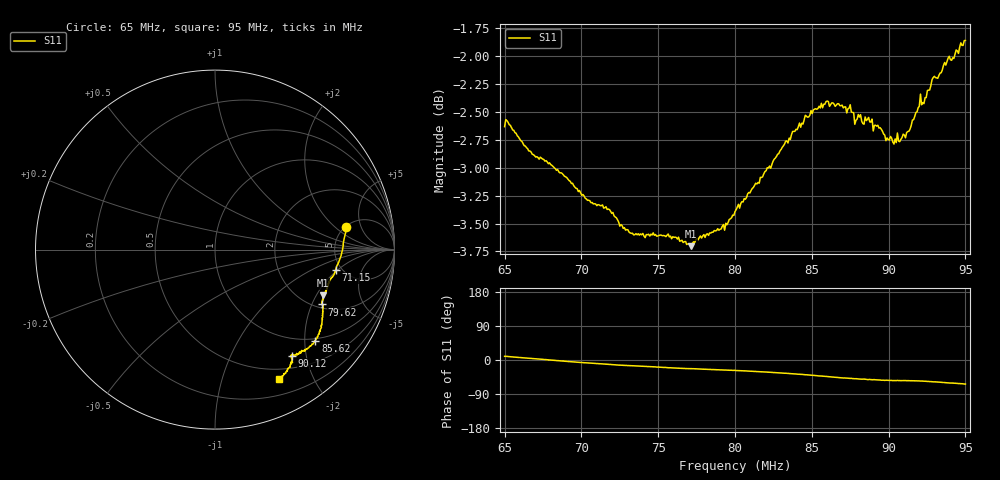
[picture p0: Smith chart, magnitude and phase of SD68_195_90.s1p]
! NanoVNA-App
! Date: 2025-08-09 16:18:55
! Start: 65MHz Stop: 95MHz Points: 401
! S-Parameter data: F S11
# Hz S RI R 50
!  Frequency  S11_Real  S11_Imag
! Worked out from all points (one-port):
!   401 points, 65 MHz to 95 MHz, reference 50 ohm
!   lowest |S11| = -3.7 dB at 77.15 MHz (marker M1), VSWR 4.76, Z = 128 - j114 ohm
!   |S11| at or under -10 dB: nowhere
!   S11 on the Smith chart (normalised r, x): 65 MHz: 5.08, +2.78; 71.15 MHz: 4.44, -1.89; 79.62 MHz: 2.15, -2.39; 85.62 MHz: 0.94, -2.25; 90.12 MHz: 0.69, -1.75; 95 MHz: 0.37, -1.55
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6.5e7  0.728 0.1243
6.5225e7  0.7323 0.1187
6.6125e7  0.7234 0.0766
6.875e7  0.703 -0.0323
6.9875e7  0.6874 -0.0748
7.115e7  0.6717 -0.1139
7.175e7  0.6647 -0.1357
7.25e7  0.6483 -0.1549
7.325e7  0.639 -0.1712
7.625e7  0.6119 -0.2411
7.715e7  0.6012 -0.2548
7.9625e7  0.5975 -0.3056
8e7  0.6015 -0.3098
8.1575e7  0.5988 -0.3562
8.375e7  0.5926 -0.4346
8.465e7  0.5804 -0.4696
8.5625e7  0.5594 -0.5093
8.66e7  0.5263 -0.5416
8.75e7  0.5003 -0.566
8.795e7  0.4823 -0.5669
8.8775e7  0.4632 -0.5799
8.9675e7  0.4377 -0.5879
9.0125e7  0.4284 -0.5925
9.125e7  0.4275 -0.5976
9.2075e7  0.4316 -0.6301
9.23e7  0.4229 -0.6269
9.29e7  0.4164 -0.6558
9.5e7  0.3593 -0.7228
